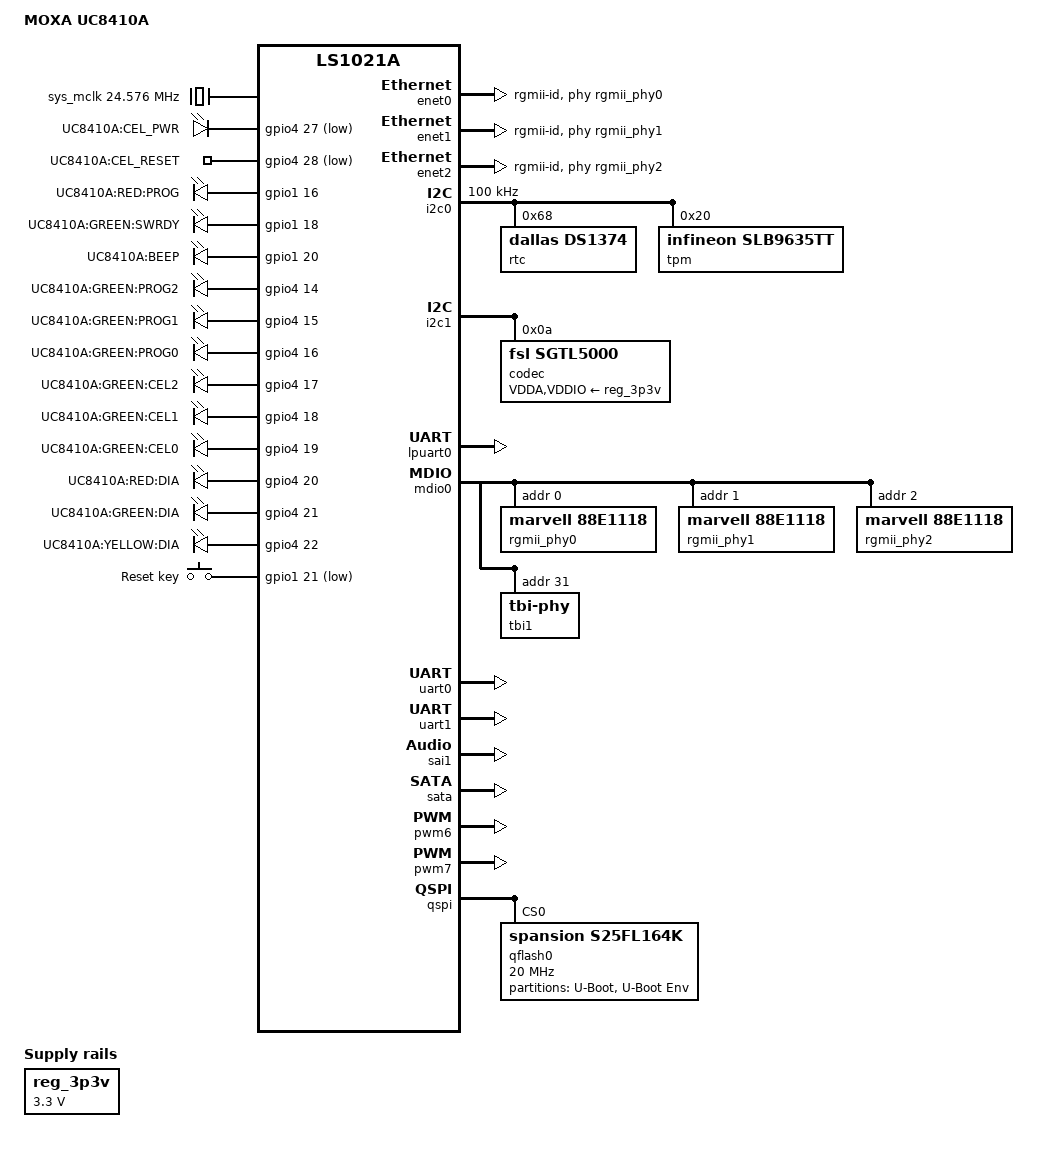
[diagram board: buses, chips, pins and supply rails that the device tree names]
/*
 * Copyright 2013-2014 Freescale Semiconductor, Inc.
 *
 * This file is dual-licensed: you can use it either under the terms
 * of the GPL or the X11 license, at your option. Note that this dual
 * licensing only applies to this file, and not this project as a
 * whole.
 *
 *  a) This file is free software; you can redistribute it and/or
 *     modify it under the terms of the GNU General Public License as
 *     published by the Free Software Foundation; either version 2 of
 *     the License, or (at your option) any later version.
 *
 *     This file is distributed in the hope that it will be useful,
 *     but WITHOUT ANY WARRANTY; without even the implied warranty of
 *     MERCHANTABILITY or FITNESS FOR A PARTICULAR PURPOSE.  See the
 *     GNU General Public License for more details.
 *
 *     You should have received a copy of the GNU General Public
 *     License along with this file; if not, write to the Free
 *     Software Foundation, Inc., 51 Franklin St, Fifth Floor, Boston,
 *     MA 02110-1301 USA
 *
 * Or, alternatively,
 *
 *  b) Permission is hereby granted, free of charge, to any person
 *     obtaining a copy of this software and associated documentation
 *     files (the "Software"), to deal in the Software without
 *     restriction, including without limitation the rights to use,
 *     copy, modify, merge, publish, distribute, sublicense, and/or
 *     sell copies of the Software, and to permit persons to whom the
 *     Software is furnished to do so, subject to the following
 *     conditions:
 *
 *     The above copyright notice and this permission notice shall be
 *     included in all copies or substantial portions of the Software.
 *
 *     THE SOFTWARE IS PROVIDED "AS IS", WITHOUT WARRANTY OF ANY KIND,
 *     EXPRESS OR IMPLIED, INCLUDING BUT NOT LIMITED TO THE WARRANTIES
 *     OF MERCHANTABILITY, FITNESS FOR A PARTICULAR PURPOSE AND
 *     NONINFRINGEMENT. IN NO EVENT SHALL THE AUTHORS OR COPYRIGHT
 *     HOLDERS BE LIABLE FOR ANY CLAIM, DAMAGES OR OTHER LIABILITY,
 *     WHETHER IN AN ACTION OF CONTRACT, TORT OR OTHERWISE, ARISING
 *     FROM, OUT OF OR IN CONNECTION WITH THE SOFTWARE OR THE USE OR
 *     OTHER DEALINGS IN THE SOFTWARE.
 */

/dts-v1/;
#include "ls1021a.dtsi"

/ {
	model = "MOXA UC8410A";

	aliases {
		enet0_rgmii_phy = &rgmii_phy0;
		enet1_rgmii_phy = &rgmii_phy1;
		enet2_rgmii_phy = &rgmii_phy2;
	};

	sys_mclk: clock-mclk {
		compatible = "fixed-clock";
		#clock-cells = <0>;
		clock-frequency = <24576000>;
	};

	regulators {
		compatible = "simple-bus";
		#address-cells = <1>;
		#size-cells = <0>;

		reg_3p3v: regulator@0 {
			compatible = "regulator-fixed";
			reg = <0>;
			regulator-name = "3P3V";
			regulator-min-microvolt = <3300000>;
			regulator-max-microvolt = <3300000>;
			regulator-always-on;
		};
	};

	leds {
		compatible = "gpio-leds";

		cel_pwr {
			label = "UC8410A:CEL_PWR";
			gpios = <&gpio4 27 1>;
			default-state = "off";
		};

		cel_reset {
			label = "UC8410A:CEL_RESET";
			gpios = <&gpio4 28 1>;
			default-state = "off";
		};
		
		str_led {
			label = "UC8410A:RED:PROG";
			gpios = <&gpio1 16 0>;
			default-state = "off";
		};

		sw_ready {
			label = "UC8410A:GREEN:SWRDY";
			gpios = <&gpio1 18 0>;
			default-state = "on";
		};
		
		beeper {
			label = "UC8410A:BEEP";
			gpios = <&gpio1 20 0>;
			default-state = "off";
		};
		
		prog_led0 {
			label = "UC8410A:GREEN:PROG2";
			gpios = <&gpio4 14 0>;
			default-state = "off";
		};

		prog_led1 {
			label = "UC8410A:GREEN:PROG1";
			gpios = <&gpio4 15 0>;
			default-state = "off";
		};

		prog_led2 {
			label = "UC8410A:GREEN:PROG0";
			gpios = <&gpio4 16 0>;
			default-state = "off";
		};

		wifi_signal0 {
			label = "UC8410A:GREEN:CEL2";
			gpios = <&gpio4 17 0>;
			default-state = "off";
		};

		wifi_signal1 {
			label = "UC8410A:GREEN:CEL1";
			gpios = <&gpio4 18 0>;
			default-state = "off";
		};

		wifi_signal2 {
			label = "UC8410A:GREEN:CEL0";
			gpios = <&gpio4 19 0>;
			default-state = "off";
		};

		cpu_diag_red {
			label = "UC8410A:RED:DIA";
			gpios = <&gpio4 20 0>;
			default-state = "off";
		};

		cpu_diag_green {
			label = "UC8410A:GREEN:DIA";
			gpios = <&gpio4 21 0>;
			default-state = "off";
		};

		cpu_diag_yellow {
			label = "UC8410A:YELLOW:DIA";
			gpios = <&gpio4 22 0>;
			default-state = "off";
		};

	};

	gpio-keys {
		compatible = "gpio-keys";
		reset-key {
			label = "Reset key";
			gpios = <&gpio1 21 1>;
			linux,code = <69>;
			default-state = "on";
		};
	};
	

};


&dspi1 {
	bus-num = <0>;
	status = "disabled";

};

&enet0 {
	phy-handle = <&rgmii_phy0>;
	phy-connection-type = "rgmii-id";
	status = "okay";
};

&enet1 {
	phy-handle = <&rgmii_phy1>;
	phy-connection-type = "rgmii-id";
	status = "okay";
};

&enet2 {
	phy-handle = <&rgmii_phy2>;
	phy-connection-type = "rgmii-id";
	status = "okay";
};

&i2c0 {
	status = "okay";
	/* clock-frequency = <400000>; */
	clock-frequency = <100000>;

   rtc@68 {
	compatible = "dallas,ds1374";
	reg = <0x68>;
    };

    tpm {
      compatible = "infineon,slb9635tt";
      reg = <0x20>;
    };
};

&i2c1 {
	status = "okay";
	codec: sgtl5000@a {
		compatible = "fsl,sgtl5000";
		reg = <0x0a>;
		VDDA-supply = <&reg_3p3v>;
		VDDIO-supply = <&reg_3p3v>;
		clocks = <&sys_mclk 1>;
	};
};

&i2c2 {
	status = "disabled";
	monitor: ltc2945@67 {
		reg = <0x67>;
	};
};

&ifc {
	status = "disabled";
	#address-cells = <2>;
	#size-cells = <1>;
	/* NOR Flash on board */
	ranges = <0x0 0x0 0x0 0x60000000 0x08000000>;

	nor@0,0 {
		#address-cells = <1>;
		#size-cells = <1>;
		compatible = "cfi-flash";
		reg = <0x0 0x0 0x8000000>;
		bank-width = <2>;
		device-width = <1>;
	};
};

&lpuart0 {
	status = "okay";
};

&mdio0 {
	rgmii_phy0: ethernet-phy@0 {
		compatible = "marvell,88e1118";
		reg = <0x0>;
		marvell,reg-init =
			/* marvell,reg-init = <reg-page reg mask value> */
			<3 0x11 0 0x4415>, /* Reg 3,17 */
			<3 0x10 0 0x77>; /* Reg 3,16 */
	};

	rgmii_phy1: ethernet-phy@1 {
		compatible = "marvell,88e1118";
		reg = <0x1>;
		marvell,reg-init =
			/* marvell,reg-init = <reg-page reg mask value> */
			<3 0x11 0 0x4415>, /* Reg 3,17 */
			<3 0x10 0 0x77>; /* Reg 3,16 */
	};

	rgmii_phy2: ethernet-phy@2 {
		compatible = "marvell,88e1118";
		reg = <0x2>;
		marvell,reg-init =
			/* marvell,reg-init = <reg-page reg mask value> */
			<3 0x11 0 0x4415>, /* Reg 3,17 */
			<3 0x10 0 0x77>; /* Reg 3,16 / LED[0]:orange LED[1]:green, 4bit per LED */
	};
	tbi1: tbi-phy@1f {
		reg = <0x1f>;
		device_type = "tbi-phy";
	};
};

&uart0 {
	status = "okay";
};

&uart1 {
	status = "okay";
};

&sai1 {
	status = "okay";
};

&sata {
        status = "okay";
};

&pwm6 {
	status = "okay";
};

&pwm7 {
	status = "okay";
};

&qspi {
	status = "okay";
	bus-num = <0>;
	fsl,spi-num-chipselects = <2>;
	fsl,spi-flash-chipselects = <0>;
	fsl,qspi-has-second-chip;
	qflash0: s25fl164k@0 {
		compatible = "spansion,s25fl164k", "spansion,s25fl064l";
		#address-cells = <1>;
		#size-cells = <1>;
		spi-max-frequency = <20000000>;
		reg = <0>;

		partitions@0 {
			label = "U-Boot";
			reg = <0x0 0x180000>;
		};
		partitions@1 {
			label = "U-Boot Env";
			/*reg = <0x180000 0x20000>;*/
			reg = <0x180000 0x680000>;
		};

	};	
};
